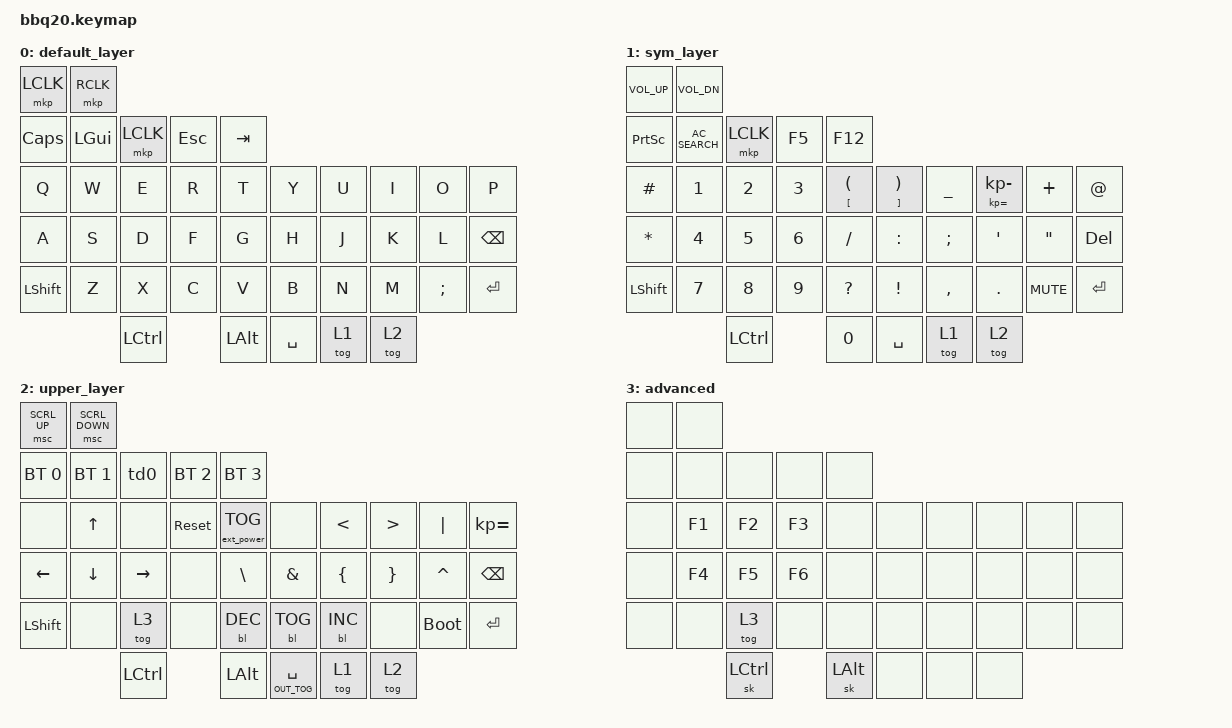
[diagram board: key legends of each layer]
/*
 * Copyright (c) 2023 ZitaoTech
 *
 * SPDX-License-Identifier: MIT
 */

#include <behaviors.dtsi>
#include <dt-bindings/zmk/backlight.h>
#include <dt-bindings/zmk/bt.h>
#include <dt-bindings/zmk/ext_power.h>
#include <dt-bindings/zmk/keys.h>
#include <dt-bindings/zmk/mouse.h>
#include <dt-bindings/zmk/outputs.h>

#define SYM 1
#define UPPER 2

/ {
    behaviors {
        td0: tap_dance_0 {
            compatible = "zmk,behavior-tap-dance";
            #binding-cells = <0>;
            tapping-term-ms = <400>;
            bindings = <&mkp LCLK>, <&bt BT_CLR>;
        };
    };

    behaviors {
        hm: homerow_mods {
            compatible = "zmk,behavior-hold-tap";
            #binding-cells = <2>;
            tapping-term-ms = <500>;
            bindings = <&out &kp>;
        };
    };

    keymap {
        compatible = "zmk,keymap";

        default_layer {
            bindings = <
&mkp LCLK  &mkp RCLK
&kp CLCK   &kp LGUI   &mkp LCLK  &kp ESC  &kp TAB
&kp Q      &kp W      &kp E      &kp R    &kp T     &kp Y        &kp U   &kp I   &kp O     &kp P
&kp A      &kp S      &kp D      &kp F    &kp G     &kp H        &kp J   &kp K   &kp L     &kp BSPC
&kp LSHFT  &kp Z      &kp X      &kp C    &kp V     &kp B        &kp N   &kp M   &kp SEMI  &kp ENTER
                      &kp LCTRL           &kp LALT  &kp SPACE    &tog 1  &tog 2
            >;
        };

        sym_layer {
            bindings = <
&kp C_VOL_UP  &kp C_VOL_DN
&kp PSCRN     &kp C_AC_SEARCH  &mkp LCLK  &kp F5  &kp F12
&kp HASH      &kp N1           &kp N2     &kp N3  &mt LBKT LPAR  &mt RBKT RPAR    &kp UNDER  &mt KP_EQUAL KP_MINUS  &kp PLUS    &kp AT
&kp STAR      &kp N4           &kp N5     &kp N6  &kp SLASH      &kp COLON        &kp SEMI   &kp APOS               &kp DQT     &kp DEL
&kp LSHFT     &kp N7           &kp N8     &kp N9  &kp QMARK      &kp EXCL         &kp COMMA  &kp DOT                &kp C_MUTE  &kp ENTER
                               &kp LCTRL          &kp N0         &kp SPACE        &tog 1     &tog 2
            >;
        };

        upper_layer {
            bindings = <
&msc SCRL_UP  &msc SCRL_DOWN
&bt BT_SEL 0  &bt BT_SEL 1    &td0       &bt BT_SEL 2  &bt BT_SEL 3
&none         &kp UP          &none      &sys_reset    &ext_power EP_TOG  &none                &kp LT      &kp GT    &kp PIPE     &kp KP_EQUAL
&kp LEFT      &kp DOWN        &kp RIGHT  &none         &kp BSLH           &kp AMPS             &kp LBRC    &kp RBRC  &kp CARET    &kp BSPC
&kp LSHFT     &none           &tog 3     &none         &bl BL_DEC         &bl BL_TOG           &bl BL_INC  &none     &bootloader  &kp ENTER
                              &kp LCTRL                &kp LALT           &hm OUT_TOG SPACE    &tog 1      &tog 2
            >;
        };

        advanced {
            bindings = <
&none  &none
&none  &none   &none      &none   &none
&none  &kp F1  &kp F2     &kp F3  &none     &none    &none  &none  &none  &none
&none  &kp F4  &kp F5     &kp F6  &none     &none    &none  &none  &none  &none
&none  &none   &tog 3     &none   &none     &none    &none  &none  &none  &none
               &sk LCTRL          &sk LALT  &none    &none  &none
            >;
        };
    };
};
